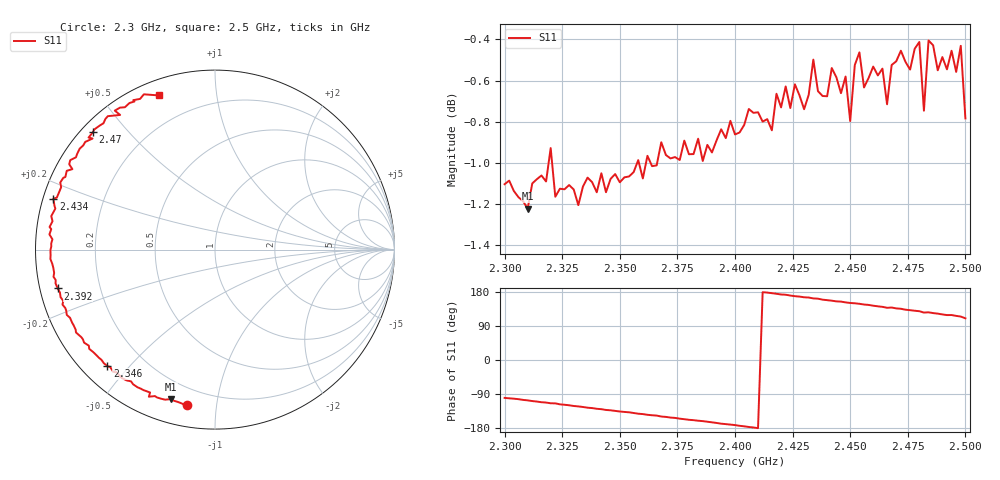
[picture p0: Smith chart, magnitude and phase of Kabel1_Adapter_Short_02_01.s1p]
# HZ S RI R 50
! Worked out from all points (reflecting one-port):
!   101 points, 2.3 GHz to 2.5 GHz, reference 50 ohm
!   lowest |S11| = -1.2 dB at 2.31 GHz (marker M1), VSWR 14.22, Z = 5.46 - j37.1 ohm
!   phase of S11 starts at -100 deg and turns -150 deg over the sweep
!   S11 on the Smith chart (normalised r, x): 2.3 GHz: 0.11, -0.83; 2.346 GHz: 0.07, -0.44; 2.392 GHz: 0.05, -0.12; 2.434 GHz: 0.03, +0.15; 2.47 GHz: 0.03, +0.40; 2.5 GHz: 0.07, +0.70
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2.3e9  -0.1535 -0.8672
2.31e9  -0.2465 -0.8329
2.32e9  -0.3685 -0.8196
2.322e9  -0.3617 -0.7962
2.326e9  -0.4134 -0.7748
2.346e9  -0.5997 -0.6485
2.35e9  -0.6325 -0.6141
2.368e9  -0.7743 -0.4618
2.376e9  -0.8078 -0.38
2.392e9  -0.8762 -0.2164
2.4e9  -0.8962 -0.1299
2.426e9  -0.9123 0.1872
2.434e9  -0.9006 0.2838
2.448e9  -0.8259 0.439
2.45e9  -0.7946 0.4483
2.454e9  -0.8065 0.4985
2.464e9  -0.7229 0.6001
2.466e9  -0.6823 0.6186
2.468e9  -0.7044 0.6245
2.47e9  -0.6802 0.6537
2.476e9  -0.6216 0.7038
2.48e9  -0.5972 0.7434
2.482e9  -0.5285 0.7502
2.484e9  -0.5582 0.7742
2.492e9  -0.4488 0.825
2.494e9  -0.4554 0.8326
2.498e9  -0.3963 0.8651
2.5e9  -0.3118 0.8589
